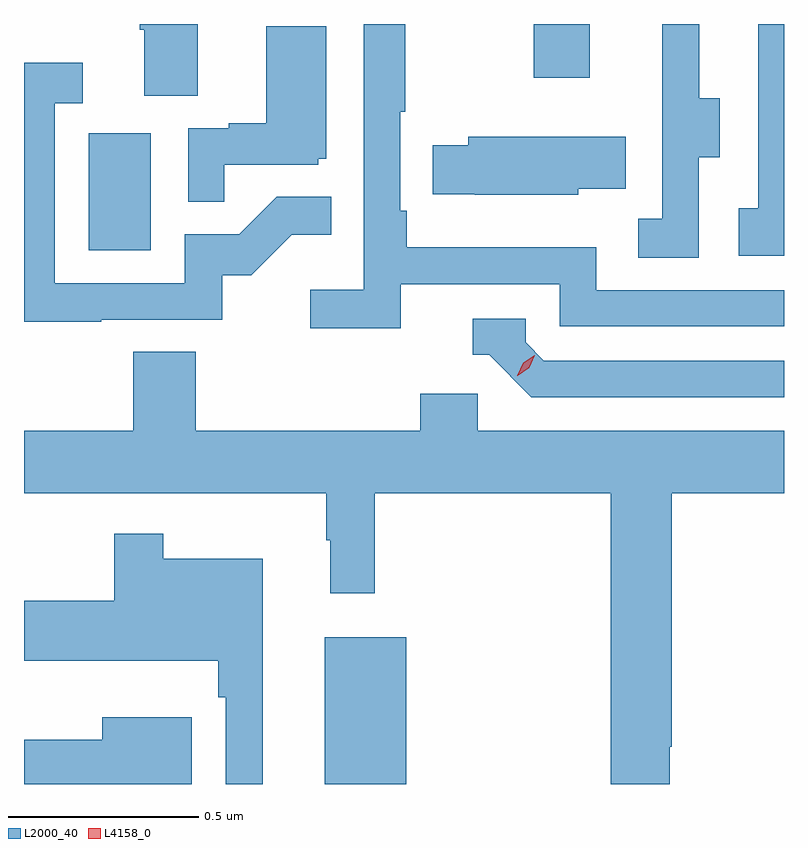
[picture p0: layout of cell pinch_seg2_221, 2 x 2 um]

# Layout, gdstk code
import gdstk
lib = gdstk.Library(unit=1e-6, precision=1e-09)
def R(c, l, rs):  # rectangles x0, y0, x1, y1
    for r in rs: c.add(gdstk.rectangle(r[:2], r[2:], *l))
def P(c, l, *ps):  # polygons
    for p in ps: c.add(gdstk.Polygon(p, *l))
L2000_40 = (2000, 40)
L4158_0 = (4158, 0)

pinch_seg2_221 = lib.new_cell('pinch_seg2_221')
R(pinch_seg2_221, L2000_40, [(972.467,657.527,972.682,657.913), (971.846,658.932,972.01,659.239), (973.018,659.385,973.165,659.527)])
P(pinch_seg2_221, L2000_40, [(973.676,659.527),(973.608,659.527),(973.608,659.042),(973.557,659.042),(973.557,658.917),(973.676,658.917)],
  [(972.133,659.527),(971.981,659.527),(971.981,659.512),(971.993,659.512),(971.993,659.338),(972.133,659.338)],
  [(972.668,658.842),(973.086,658.842),(973.086,658.731),(973.676,658.731),(973.676,658.827),(973.182,658.827),(973.182,658.939),(972.683,658.939),(972.683,659.035),(972.666,659.035),(972.666,659.296),(972.679,659.296),(972.679,659.527),(972.57,659.527),(972.57,658.828),(972.429,658.828),(972.429,658.726),(972.668,658.726)],
  [(973.452,659.176),(973.507,659.176),(973.507,659.331),(973.453,659.331),(973.453,659.527),(973.355,659.527),(973.355,659.319),(973.356,659.319),(973.356,659.015),(973.293,659.015),(973.293,658.912),(973.452,658.912)],
  [(972.203,659.157),(972.45,659.157),(972.45,659.172),(972.472,659.172),(972.472,659.521),(972.314,659.521),(972.314,659.266),(972.215,659.266),(972.215,659.253),(972.108,659.253),(972.108,659.059),(972.203,659.059)],
  [(971.879,658.749),(972.198,658.749),(972.198,658.866),(972.274,658.866),(972.381,658.973),(972.485,658.973),(972.485,659.072),(972.341,659.072),(972.243,658.974),(972.099,658.974),(972.099,658.845),(971.757,658.845),(971.757,659.319),(971.83,659.319),(971.83,659.425),(971.676,659.425),(971.676,658.744),(971.879,658.744)],
  [(973.134,659.093),(973.259,659.093),(973.259,659.23),(972.845,659.23),(972.845,659.208),(972.751,659.208),(972.751,659.079),(972.862,659.079),(972.862,659.078),(973.134,659.078)],
  [(973.676,658.641),(973.044,658.641),(972.996,658.689),(972.996,658.752),(972.857,658.752),(972.857,658.656),(972.9,658.656),(973.011,658.545),(973.676,658.545)],
  [(973.375,657.625),(973.38,657.625),(973.38,658.292),(973.676,658.292),(973.676,658.456),(972.87,658.456),(972.87,658.554),(972.719,658.554),(972.719,658.456),(972.128,658.456),(972.128,658.664),(971.963,658.664),(971.963,658.456),(971.676,658.456),(971.676,658.292),(972.471,658.292),(972.471,658.169),(972.482,658.169),(972.482,658.029),(972.599,658.029),(972.599,658.292),(973.22,658.292),(973.22,657.527),(973.375,657.527)],
  [(972.304,658.12),(972.043,658.12),(972.043,658.186),(971.914,658.186),(971.914,658.009),(971.676,658.009),(971.676,657.851),(972.187,657.851),(972.187,657.755),(972.207,657.755),(972.207,657.527),(972.304,657.527)],
  [(972.118,657.703),(971.882,657.703),(971.882,657.643),(971.676,657.643),(971.676,657.527),(972.118,657.527)])
P(pinch_seg2_221, L4158_0, [(972.974,658.601),(972.974,658.602),(972.99,658.635),(973.02,658.655),(973.02,658.655),(973.02,658.655),(973.005,658.622),(972.975,658.601)])

lib.write_gds('pinch_seg2_221.gds')
